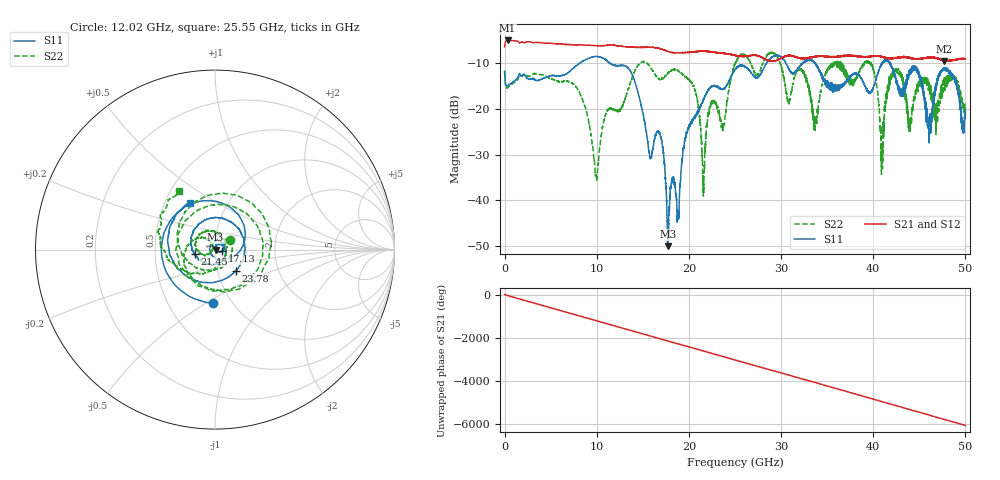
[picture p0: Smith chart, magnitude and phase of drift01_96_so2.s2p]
!Created with skrf (http://scikit-rf.org).
# Hz S RI R 50.0
!freq ReS11 ImS11 ReS21 ImS21 ReS12 ImS12 ReS22 ImS22
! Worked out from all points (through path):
!   10001 points, 300 kHz to 50 GHz, reference 50 ohm
!   highest |S21| = -5.05 dB at 315.3 MHz (marker M1); lowest = -9.6 dB at 47.67 GHz (marker M2)
!   group delay of S21, straight-line fit = 336 ps
!   lowest |S11| = -50.0 dB at 17.7 GHz (marker M3), VSWR 1.01, Z = 50.3 - j0.0646 ohm
!   |S11| at or under -10 dB: start of sweep to 8.161 GHz; 11.43 GHz to 28.43 GHz (17 GHz wide, 85.3 % of centre); 41.8 GHz to end of sweep (the widest 3 of 12)
!   |S22| runs from -39.1 to -7.7 dB; largest |S21 - S12| = 0.016
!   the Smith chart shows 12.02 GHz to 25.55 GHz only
!   S11 on the Smith chart (normalised r, x): 12.02 GHz: 0.82, -0.54; 17.13 GHz: 1.08, -0.02; 21.45 GHz: 0.79, -0.04; 23.78 GHz: 1.22, -0.30; 25.55 GHz: 0.67, +0.38
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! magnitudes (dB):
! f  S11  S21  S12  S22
! 300 kHz  -11.8  -6.5  -6.5  -11.8
! 315.3 MHz  -15.0  -5.1  -5.1  -15.4
! 8.335 GHz  -9.8  -6.0  -6.0  -17.5
! 9.94 GHz  -8.5  -6.2  -6.2  -34.6
! 12.02 GHz  -10.5  -6.1  -6.1  -20.4
! 16.67 GHz  -24.9  -6.8  -6.7  -13.3
! 17.13 GHz  -28.2  -7.0  -7.0  -13.3
! 17.7 GHz  -50.0  -7.4  -7.4  -12.3
! 20.5 GHz  -22.3  -7.6  -7.5  -14.9
! 21.45 GHz  -18.7  -7.4  -7.4  -31.4
! 22.47 GHz  -15.1  -7.6  -7.6  -19.0
! 23.78 GHz  -15.6  -7.9  -7.9  -23.3
! 25 GHz  -11.4  -8.3  -8.3  -10.2
! 25.55 GHz  -10.6  -8.5  -8.5  -8.4
! 33.34 GHz  -9.4  -8.7  -8.7  -19.6
! 39.49 GHz  -16.5  -8.6  -8.6  -9.9
! 40.95 GHz  -10.1  -8.7  -8.6  -28.2
! 41.67 GHz  -9.7  -8.8  -8.9  -14.5
! 44.77 GHz  -11.5  -9.1  -9.1  -14.6
! 46.1 GHz  -25.5  -8.8  -8.8  -15.1
! 47.67 GHz  -11.3  -9.6  -9.5  -14.6
! 50 GHz  -21.4  -9.1  -9.1  -20.4
